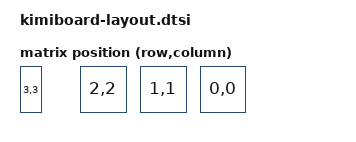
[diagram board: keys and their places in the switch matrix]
#include <dt-bindings/zmk/matrix_transform.h>
#include <physical_layouts.dtsi>

/ {
    chosen {
        zmk,physical-layout = &physical_layout0;
    };

    physical_layout0: physical_layout_0 {
        compatible = "zmk,physical-layout";
        display-name = "Default Layout";
        kscan = <&kscan0>;
        transform = <&default_transform>;

    keys = 
            //                     w    h    x     y   rot rx  ry
             <&key_physical_attrs  50   100    0   0   0   0   0>   // SW1(リセット用ボタン)
            , <&key_physical_attrs 100  100  120   0   0   0   0>   // SW2(左ボタン)
            , <&key_physical_attrs 100  100  240   0   0   0   0>   // SW3(中央ボタン)
            , <&key_physical_attrs 100  100  360   0   0   0   0>   // SW4(右ボタン)
            ;
    };

    default_transform: keymap_transform0 {
        compatible = "zmk,matrix-transform";
        rows = <4>;
        columns = <5>;
        map = <
        RC(3,3) RC(2,2) RC(1,1) RC(0,0)    // SW4〜SW1(4はリセット用スイッチ)
        >;
    };

};
